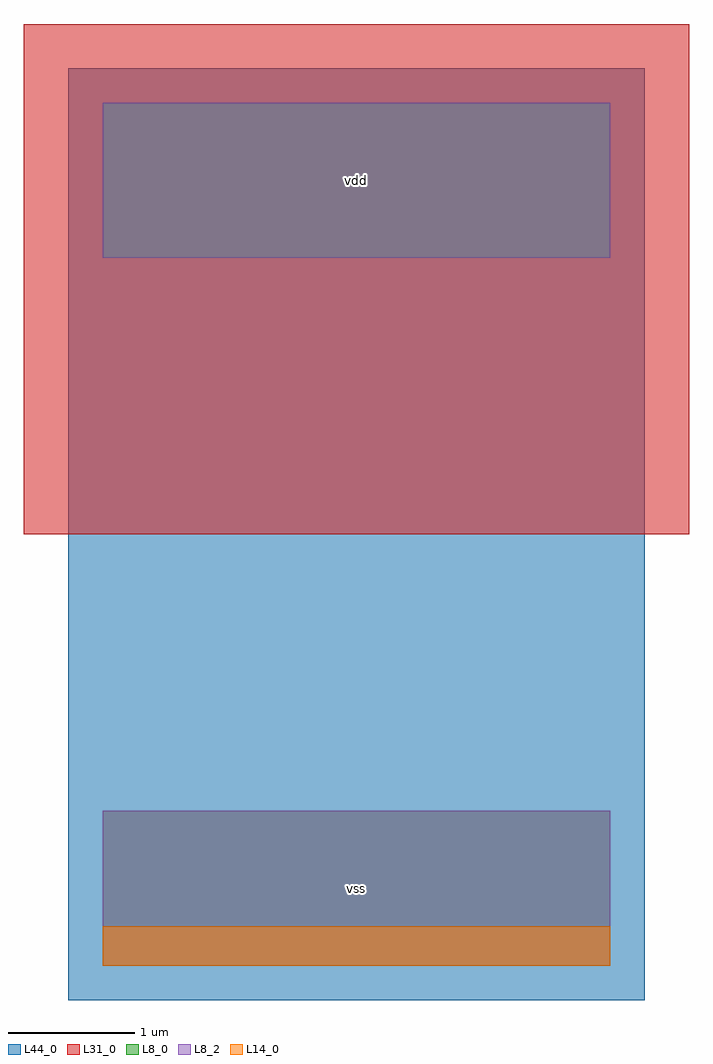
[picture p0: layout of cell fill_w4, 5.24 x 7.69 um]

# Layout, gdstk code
import gdstk
lib = gdstk.Library(unit=1e-6, precision=1e-09)
def R(c, l, rs):  # rectangles x0, y0, x1, y1
    for r in rs: c.add(gdstk.rectangle(r[:2], r[2:], *l))
L8_0 = (8, 0)
L8_2 = (8, 2)
L14_0 = (14, 0)
L31_0 = (31, 0)
L44_0 = (44, 0)

fill_w4 = lib.new_cell('fill_w4')
R(fill_w4, L8_0, [(0,0,4,1.22), (0,5.58,4,6.8)])
R(fill_w4, L8_2, [(0,0,4,1.22), (0,5.58,4,6.8)])
R(fill_w4, L14_0, [(0,0,4,0.31)])
R(fill_w4, L31_0, [(-0.62,3.4,4.62,7.42)])
R(fill_w4, L44_0, [(-0.27,-0.27,4.27,7.07)])
fill_w4.add(gdstk.Label('vdd', (2,6.19), layer=8, texttype=2))
fill_w4.add(gdstk.Label('vss', (2,0.61), layer=8, texttype=2))

lib.write_gds('fill_w4.gds')
